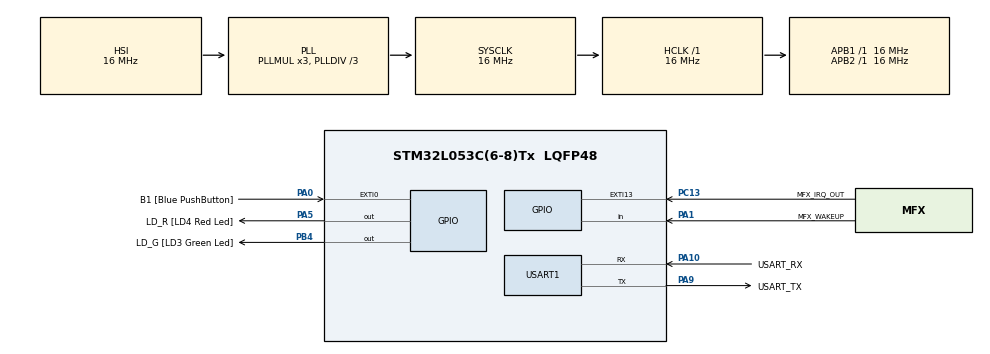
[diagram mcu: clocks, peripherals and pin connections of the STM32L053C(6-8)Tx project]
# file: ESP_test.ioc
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Mcu.Family=STM32L0
Mcu.Name=STM32L053C(6-8)Tx
Mcu.Package=LQFP48
NVIC.USART1_IRQn=true\:0\:0\:false\:false\:true\:true
PA0.GPIO_Label=B1 [Blue PushButton]
PA0.GPIO_ModeDefaultEXTI=GPIO_MODE_EVT_RISING
PA0.GPIO_PuPd=GPIO_NOPULL
PA0.Signal=GPXTI0
PA1.GPIO_Label=MFX_WAKEUP
PA1.Signal=GPIO_Input
PA10.GPIO_Label=USART_RX
PA10.Mode=Asynchronous
PA10.Signal=USART1_RX
PA13.GPIO_Label=SWDIO
PA13.Signal=SYS_SWDIO
PA5.GPIO_Label=LD_R [LD4 Red Led]
PA5.GPIO_ModeDefaultOutputPP=GPIO_MODE_OUTPUT_PP
PA5.GPIO_PuPd=GPIO_NOPULL
PA5.GPIO_Speed=GPIO_SPEED_FREQ_LOW
PA5.Signal=GPIO_Output
PA9.GPIO_Label=USART_TX
PA9.Mode=Asynchronous
PA9.Signal=USART1_TX
PB4.GPIO_Label=LD_G [LD3 Green Led]
PB4.GPIO_ModeDefaultOutputPP=GPIO_MODE_OUTPUT_PP
PB4.GPIO_PuPd=GPIO_NOPULL
PB4.GPIO_Speed=GPIO_SPEED_FREQ_LOW
PB4.Signal=GPIO_Output
PC13.GPIO_Label=MFX_IRQ_OUT
PC13.Signal=GPXTI13
PC14-OSC32_IN.GPIO_Label=PC14-OSC32_IN
PC14-OSC32_IN.Signal=RCC_OSC32_IN
PC15-OSC32_OUT.GPIO_Label=PC15-OSC32_OUT
PC15-OSC32_OUT.Signal=RCC_OSC32_OUT
PH0-OSC_IN.GPIO_Label=MCO
PH0-OSC_IN.Signal=RCC_OSC_IN
ProjectManager.HeapSize=0x200
ProjectManager.StackSize=0x400
ProjectManager.TargetToolchain=SW4STM32
RCC.AHBFreq_Value=16000000
RCC.APB1Freq_Value=16000000
RCC.APB1TimFreq_Value=16000000
RCC.APB2Freq_Value=16000000
RCC.APB2TimFreq_Value=16000000
RCC.HCLKFreq_Value=16000000
RCC.HSE_VALUE=8000000
RCC.HSI16_VALUE=16000000
RCC.HSI48MClockSelection=RCC_USBCLKSOURCE_HSI48
RCC.HSI48_VALUE=48000000
RCC.HSI_VALUE=16000000
RCC.LSE_VALUE=32768
RCC.MSI_VALUE=2097000
RCC.PLLDIV=RCC_PLLDIV_3
RCC.RTCClockSelectionVirtual=RCC_RTCCLKSOURCE_LSE
RCC.SYSCLKFreq_VALUE=16000000
RCC.SYSCLKSource=RCC_SYSCLKSOURCE_PLLCLK
RCC.VCOOutputFreq_Value=48000000
USART1.VirtualMode-Asynchronous=VM_ASYNC
USART1.WordLength=WORDLENGTH_8B
board=32L0538DISCOVERY

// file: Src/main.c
/**
  ******************************************************************************
  * @file           : main.c
  * @brief          : Main program body
  ******************************************************************************
  ** This notice applies to any and all portions of this file
  * that are not between comment pairs USER CODE BEGIN and
  * USER CODE END. Other portions of this file, whether
  * inserted by the user or by software development tools
  * are owned by their respective copyright owners.
  *
  * COPYRIGHT(c) 2020 STMicroelectronics
  *
  * Redistribution and use in source and binary forms, with or without modification,
  * are permitted provided that the following conditions are met:
  *   1. Redistributions of source code must retain the above copyright notice,
  *      this list of conditions and the following disclaimer.
  *   2. Redistributions in binary form must reproduce the above copyright notice,
  *      this list of conditions and the following disclaimer in the documentation
  *      and/or other materials provided with the distribution.
  *   3. Neither the name of STMicroelectronics nor the names of its contributors
  *      may be used to endorse or promote products derived from this software
  *      without specific prior written permission.
  *
  * THIS SOFTWARE IS PROVIDED BY THE COPYRIGHT HOLDERS AND CONTRIBUTORS "AS IS"
  * AND ANY EXPRESS OR IMPLIED WARRANTIES, INCLUDING, BUT NOT LIMITED TO, THE
  * IMPLIED WARRANTIES OF MERCHANTABILITY AND FITNESS FOR A PARTICULAR PURPOSE ARE
  * DISCLAIMED. IN NO EVENT SHALL THE COPYRIGHT HOLDER OR CONTRIBUTORS BE LIABLE
  * FOR ANY DIRECT, INDIRECT, INCIDENTAL, SPECIAL, EXEMPLARY, OR CONSEQUENTIAL
  * DAMAGES (INCLUDING, BUT NOT LIMITED TO, PROCUREMENT OF SUBSTITUTE GOODS OR
  * SERVICES; LOSS OF USE, DATA, OR PROFITS; OR BUSINESS INTERRUPTION) HOWEVER
  * CAUSED AND ON ANY THEORY OF LIABILITY, WHETHER IN CONTRACT, STRICT LIABILITY,
  * OR TORT (INCLUDING NEGLIGENCE OR OTHERWISE) ARISING IN ANY WAY OUT OF THE USE
  * OF THIS SOFTWARE, EVEN IF ADVISED OF THE POSSIBILITY OF SUCH DAMAGE.
  *
  ******************************************************************************
  */
#include "main.h"
#include "stm32l0xx_hal.h"

/* USER CODE BEGIN Includes */
#include <stdlib.h>
#include <string.h>
/* USER CODE END Includes */

UART_HandleTypeDef huart1;

/* USER CODE BEGIN PV */
/* Private variables ---------------------------------------------------------*/
static int dataReceived = 0;
//static int inStringLen = 14;
int addFlag = 0, subFlag = 0, mulFlag = 0, divFlag = 0, clrFlag = 0;
char array[100] = "Enter number: ";
char buf[50];
int result = 0;

int strIdx = 0;
char inChar[2], inString[100];
char operand1[10], operand2[10];
int stage = 0;
/* USER CODE END PV */

void SystemClock_Config(void);
static void MX_GPIO_Init(void);
static void MX_USART1_UART_Init(void);

/* USER CODE BEGIN PFP */
/* Private function prototypes -----------------------------------------------*/
static void transmitString(UART_HandleTypeDef handle, char* string);
/* USER CODE END PFP */

int main(void)
    {

  /* MCU Configuration----------------------------------------------------------*/

  /* Reset of all peripherals, Initializes the Flash interface and the Systick. */
  HAL_Init();

  /* Configure the system clock */
  SystemClock_Config();

  /* Initialize all configured peripherals */
  MX_GPIO_Init();
  MX_USART1_UART_Init();
  /* USER CODE BEGIN 2 */
    for(int i = 0; i< 100; i++)
    {
        array[i] = '\0';
    }
    strcpy(array, "AT+RST\r\n");

    HAL_UART_Receive_IT(&huart1, (uint8_t *)inChar, 1);
    transmitString(huart1, array);
    stage = 0;
  /* USER CODE END 2 */

  /* Infinite loop */
  /* USER CODE BEGIN WHILE */
  while (1)
  {
      if (dataReceived)
      {
          dataReceived = 0;
          switch (stage)
          {
              case 0://AT+RST
                  if(!strcmp(inString, "WIFI GOT IP\r"))
                  {
                      strcpy(array, "AT+CIFSR\r\n");
                      transmitString(huart1, array);
                      stage++;
                  }
                  break;

              case 1://AT command
                  if(!strcmp(inString, "OK\r"))
                  {
                      // Found Ok reply to AT
//                      for(int i = 0; i < 100; i++)
//                      {
//                          inString[i] = '\0';
//                      }
                      strcpy(array, "AT+CIPMUX=1\r\n");
                      transmitString(huart1, array);
                      stage++;
                  }
                  break;

              case 2:// CIPMUX command
                  if(!strcmp(inString, "OK\r"))
                  {
                      // Found OK reply to AT+CIPMUX=1
//                      for(int i = 0; i < 100; i++)
//                      {
//                          inString[i] = '\0';
//                      }
                      strcpy(array, "AT+CIPSERVER=1,80\r\n");
                      transmitString(huart1, array);
                      stage++;
                  }
                  break;

              case 3:// CIPSERVER command
                  if(!strcmp(inString, "OK\r"))
                  {
//                      for(int i = 0; i < 100; i++)
//                      {
//                          inString[i] = '\0';
//                      }
                      stage++;
                  }
                  break;

              case 4:// look for http request
                  if(!strcmp(inString, "Host: 192.168.43.46\r")) // found request
                  {
//                      for(int i = 0; i < 100; i++)
//                      {
//                          inString[i] = '\0';
//                      }
                      strcpy(array, "AT+CIPSEND=0,57\r\n");
                      transmitString(huart1, array);
                      stage++;
                  }
                  break;

              case 5://AT+CIPSEND
                  if(!strcmp(inString, "OK\r"))
                  {
                      HAL_Delay(1000);
                      strcpy(array, "Hello!\nThis is Team 7's SMAT utilizing our ESP-01s module");
                      transmitString(huart1, array);
                      stage++;
                  }
                  break;

              case 6:// AT+CIPCLOSE=0
                  if(!strcmp(inString, "SEND OK\r"))
                  {
                      strcpy(array, "AT+CIPCLOSE=0\r\n");
                      transmitString(huart1, array);
                      stage++;
                  }
                  break;

          }
      }

  /* USER CODE END WHILE */

  }

}

void SystemClock_Config(void)
{

  RCC_OscInitTypeDef RCC_OscInitStruct;
  RCC_ClkInitTypeDef RCC_ClkInitStruct;
  RCC_PeriphCLKInitTypeDef PeriphClkInit;

    /**Configure the main internal regulator output voltage
    */
  __HAL_PWR_VOLTAGESCALING_CONFIG(PWR_REGULATOR_VOLTAGE_SCALE1);

    /**Initializes the CPU, AHB and APB busses clocks
    */
  RCC_OscInitStruct.OscillatorType = RCC_OSCILLATORTYPE_HSI;
  RCC_OscInitStruct.HSIState = RCC_HSI_ON;
  RCC_OscInitStruct.HSICalibrationValue = 16;
  RCC_OscInitStruct.PLL.PLLState = RCC_PLL_ON;
  RCC_OscInitStruct.PLL.PLLSource = RCC_PLLSOURCE_HSI;
  RCC_OscInitStruct.PLL.PLLMUL = RCC_PLLMUL_3;
  RCC_OscInitStruct.PLL.PLLDIV = RCC_PLLDIV_3;
  if (HAL_RCC_OscConfig(&RCC_OscInitStruct) != HAL_OK)
  {
    _Error_Handler(__FILE__, __LINE__);
  }

    /**Initializes the CPU, AHB and APB busses clocks
    */
  RCC_ClkInitStruct.ClockType = RCC_CLOCKTYPE_HCLK|RCC_CLOCKTYPE_SYSCLK
                              |RCC_CLOCKTYPE_PCLK1|RCC_CLOCKTYPE_PCLK2;
  RCC_ClkInitStruct.SYSCLKSource = RCC_SYSCLKSOURCE_PLLCLK;
  RCC_ClkInitStruct.AHBCLKDivider = RCC_SYSCLK_DIV1;
  RCC_ClkInitStruct.APB1CLKDivider = RCC_HCLK_DIV1;
  RCC_ClkInitStruct.APB2CLKDivider = RCC_HCLK_DIV1;

  if (HAL_RCC_ClockConfig(&RCC_ClkInitStruct, FLASH_LATENCY_0) != HAL_OK)
  {
    _Error_Handler(__FILE__, __LINE__);
  }

  PeriphClkInit.PeriphClockSelection = RCC_PERIPHCLK_USART1;
  PeriphClkInit.Usart1ClockSelection = RCC_USART1CLKSOURCE_PCLK2;
  if (HAL_RCCEx_PeriphCLKConfig(&PeriphClkInit) != HAL_OK)
  {
    _Error_Handler(__FILE__, __LINE__);
  }

    /**Configure the Systick interrupt time
    */
  HAL_SYSTICK_Config(HAL_RCC_GetHCLKFreq()/1000);

    /**Configure the Systick
    */
  HAL_SYSTICK_CLKSourceConfig(SYSTICK_CLKSOURCE_HCLK);

  /* SysTick_IRQn interrupt configuration */
  HAL_NVIC_SetPriority(SysTick_IRQn, 0, 0);
}

/* USART1 init function */
static void MX_USART1_UART_Init(void)
{

  huart1.Instance = USART1;
  huart1.Init.BaudRate = 115200;
  huart1.Init.WordLength = UART_WORDLENGTH_8B;
  huart1.Init.StopBits = UART_STOPBITS_1;
  huart1.Init.Parity = UART_PARITY_NONE;
  huart1.Init.Mode = UART_MODE_TX_RX;
  huart1.Init.HwFlowCtl = UART_HWCONTROL_NONE;
  huart1.Init.OverSampling = UART_OVERSAMPLING_16;
  huart1.Init.OneBitSampling = UART_ONE_BIT_SAMPLE_DISABLE;
  huart1.AdvancedInit.AdvFeatureInit = UART_ADVFEATURE_NO_INIT;
  if (HAL_UART_Init(&huart1) != HAL_OK)
  {
    _Error_Handler(__FILE__, __LINE__);
  }

}

/** Configure pins as
        * Analog
        * Input
        * Output
        * EVENT_OUT
        * EXTI
*/
static void MX_GPIO_Init(void)
{

  GPIO_InitTypeDef GPIO_InitStruct;

  /* GPIO Ports Clock Enable */
  __HAL_RCC_GPIOC_CLK_ENABLE();
  __HAL_RCC_GPIOH_CLK_ENABLE();
  __HAL_RCC_GPIOA_CLK_ENABLE();
  __HAL_RCC_GPIOB_CLK_ENABLE();

  /*Configure GPIO pin Output Level */
  HAL_GPIO_WritePin(LD_R_GPIO_Port, LD_R_Pin, GPIO_PIN_RESET);

  /*Configure GPIO pin Output Level */
  HAL_GPIO_WritePin(LD_G_GPIO_Port, LD_G_Pin, GPIO_PIN_RESET);

  /*Configure GPIO pin : MFX_IRQ_OUT_Pin */
  GPIO_InitStruct.Pin = MFX_IRQ_OUT_Pin;
  GPIO_InitStruct.Mode = GPIO_MODE_IT_RISING;
  GPIO_InitStruct.Pull = GPIO_NOPULL;
  HAL_GPIO_Init(MFX_IRQ_OUT_GPIO_Port, &GPIO_InitStruct);

  /*Configure GPIO pin : B1_Pin */
  GPIO_InitStruct.Pin = B1_Pin;
  GPIO_InitStruct.Mode = GPIO_MODE_EVT_RISING;
  GPIO_InitStruct.Pull = GPIO_NOPULL;
  HAL_GPIO_Init(B1_GPIO_Port, &GPIO_InitStruct);

  /*Configure GPIO pin : MFX_WAKEUP_Pin */
  GPIO_InitStruct.Pin = MFX_WAKEUP_Pin;
  GPIO_InitStruct.Mode = GPIO_MODE_INPUT;
  GPIO_InitStruct.Pull = GPIO_NOPULL;
  HAL_GPIO_Init(MFX_WAKEUP_GPIO_Port, &GPIO_InitStruct);

  /*Configure GPIO pin : LD_R_Pin */
  GPIO_InitStruct.Pin = LD_R_Pin;
  GPIO_InitStruct.Mode = GPIO_MODE_OUTPUT_PP;
  GPIO_InitStruct.Pull = GPIO_NOPULL;
  GPIO_InitStruct.Speed = GPIO_SPEED_FREQ_LOW;
  HAL_GPIO_Init(LD_R_GPIO_Port, &GPIO_InitStruct);

  /*Configure GPIO pin : LD_G_Pin */
  GPIO_InitStruct.Pin = LD_G_Pin;
  GPIO_InitStruct.Mode = GPIO_MODE_OUTPUT_PP;
  GPIO_InitStruct.Pull = GPIO_NOPULL;
  GPIO_InitStruct.Speed = GPIO_SPEED_FREQ_LOW;
  HAL_GPIO_Init(LD_G_GPIO_Port, &GPIO_InitStruct);

}

/* USER CODE BEGIN 4 */
static void transmitString(UART_HandleTypeDef handle, char* string)
{
    int i = 0;
    for(i = 0;string[i] != '\0'; i++)
    {
    }
    HAL_UART_Transmit(&handle, (uint8_t*)string,i, 0xFFFF);
}

void HAL_UART_RxCpltCallback(UART_HandleTypeDef *huart)
{
    if(huart->Instance == USART1)
    {
        if(strIdx == 0) //If reading new string
        {
            for(int i = 0; i < 100; i++)
            {
                inString[i] = '\0';
            }
        }
        if(inChar[0] != 10) //If character isn't \n
        {
            inString[strIdx++] = inChar[0];
        }
        else //If character is enter
        {
            inString[strIdx] = '\0';
            //inStringLen = strIdx; //Length of received string;
            strIdx = 0;
            dataReceived = 1;
        }
    }

    HAL_UART_Receive_IT(&huart1, (uint8_t *)inChar, 1);
}
/* USER CODE END 4 */

void _Error_Handler(char *file, int line)
{
  while(1)
  {
  }
}

/************************ (C) COPYRIGHT STMicroelectronics *****END OF FILE****/
